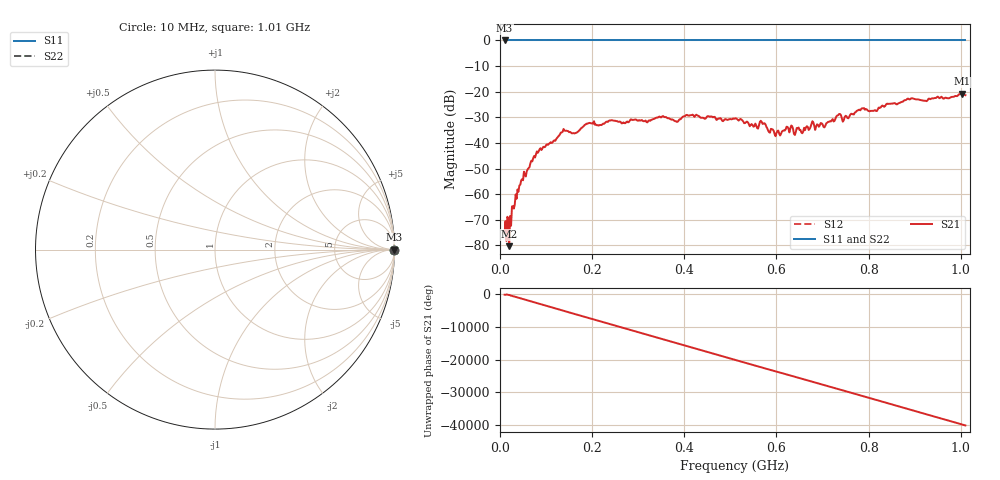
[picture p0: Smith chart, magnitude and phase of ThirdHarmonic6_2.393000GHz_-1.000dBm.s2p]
! 8/17/2025 3:53:48 AM
! C:\ANRITSUVNA\TEMP\TEMP.S2P
! CHANNEL.1
! TR.MEASUREMENT
! RAW.DATA
! RF.CORRECTION.OFF
! AVERAGING.OFF
! IF.BANDWIDTH: 5KHZ
! SWEEPTYPE:  FREQ.SWEEP(Linear)
! Reference Plane Port Info
! PORT:  PORT1  PORT2
! DISTANCE:  0  m  0  m
! TIME:  0  s  0  s
! PHASE.OFFSET:  0  deg.  0  deg.
! LOSS:  0  dB  0  dB
! REF.LOSS:  0  dB  0  dB
! REF.FREQ:  0  Hz  0  Hz
! Power Info
! POWER:  -20  dBm  -20  dBm
! EFF.POWER:  -20  dBm  -20  dBm
! SOURCE.ATTEN:  0  dB  0  dB
! TEST.ATTEN:  0  dB  0  dB
# GHZ S RI R 50.0
! FREQ.GHZ  S11RE  S11IM  S21RE  S21IM  S12RE  S12IM  S22RE  S22IM
!; PortSelection: Port_12
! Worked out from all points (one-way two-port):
!   501 points, 10 MHz to 1.01 GHz, reference 50 ohm
!   highest |S21| = -20.77 dB at 1.002 GHz (marker M1); lowest = -80.3 dB at 20 MHz (marker M2)
!   lowest |S11| = 0.0 dB at 10 MHz (marker M3)
!   |S11| at or under -10 dB: nowhere
!   |S22| runs from 0.0 to 0.0 dB; largest |S21 - S12| = 1.1
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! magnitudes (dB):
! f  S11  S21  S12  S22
! 10 MHz  0.0  -75.1  0.0  0.0
! 20 MHz  0.0  -80.3  0.0  0.0
! 30 MHz  0.0  -65.6  0.0  0.0
! 48 MHz  0.0  -54.1  0.0  0.0
! 82 MHz  0.0  -43.8  0.0  0.0
! 136 MHz  0.0  -35.6  0.0  0.0
! 162 MHz  0.0  -36.3  0.0  0.0
! 178 MHz  0.0  -34.0  0.0  0.0
! 344 MHz  0.0  -29.9  0.0  0.0
! 510 MHz  0.0  -30.4  0.0  0.0
! 556 MHz  0.0  -33.1  0.0  0.0
! 570 MHz  0.0  -32.6  0.0  0.0
! 598 MHz  0.0  -37.4  0.0  0.0
! 622 MHz  0.0  -33.7  0.0  0.0
! 658 MHz  0.0  -35.6  0.0  0.0
! 678 MHz  0.0  -31.5  0.0  0.0
! 704 MHz  0.0  -33.9  0.0  0.0
! 734 MHz  0.0  -29.2  0.0  0.0
! 746 MHz  0.0  -31.2  0.0  0.0
! 844 MHz  0.0  -24.7  0.0  0.0
! 1.002 GHz  0.0  -20.8  0.0  0.0
! 1.01 GHz  0.0  -21.4  0.0  0.0
